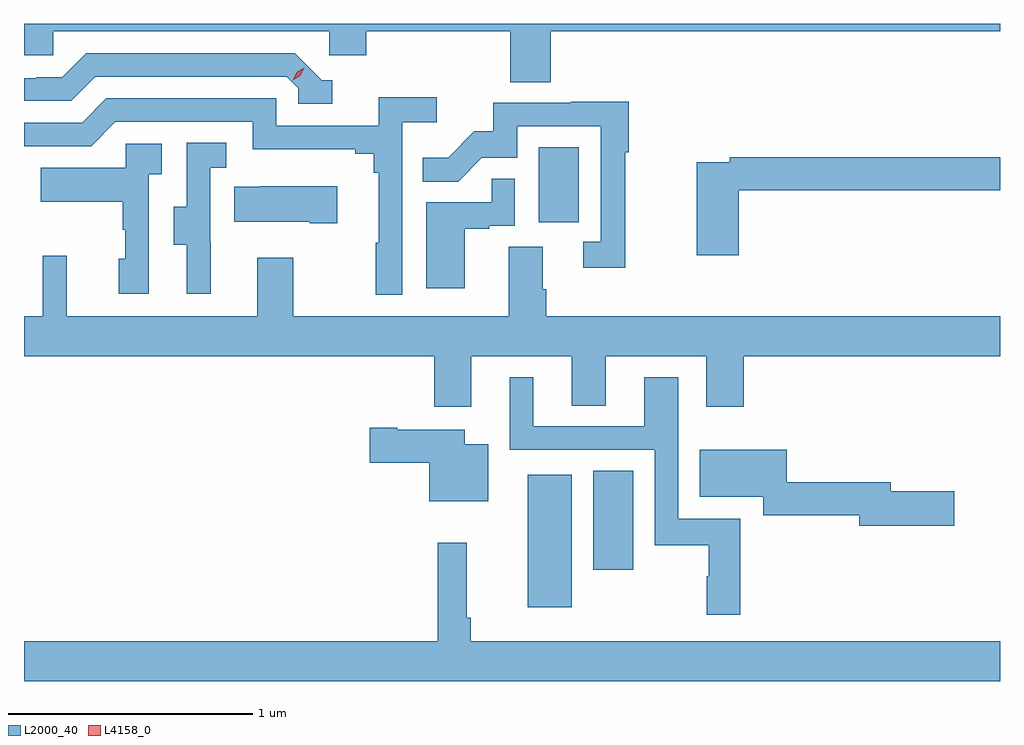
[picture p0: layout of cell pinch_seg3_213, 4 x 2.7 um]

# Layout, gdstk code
import gdstk
lib = gdstk.Library(unit=1e-6, precision=1e-09)
def R(c, l, rs):  # rectangles x0, y0, x1, y1
    for r in rs: c.add(gdstk.rectangle(r[:2], r[2:], *l))
def P(c, l, *ps):  # polygons
    for p in ps: c.add(gdstk.Polygon(p, *l))
L2000_40 = (2000, 40)
L4158_0 = (4158, 0)

pinch_seg3_213 = lib.new_cell('pinch_seg3_213')
R(pinch_seg3_213, L2000_40, [(950.531,746.507,950.71,747.052), (950.798,746.661,950.962,747.068), (950.576,748.086,950.74,748.393)])
P(pinch_seg3_213, L2000_40, [(950.624,748.868),(952.466,748.868),(952.466,748.9),(948.466,748.9),(948.466,748.77),(948.585,748.77),(948.585,748.868),(949.716,748.868),(949.716,748.77),(949.868,748.77),(949.868,748.868),(950.459,748.868),(950.459,748.66),(950.624,748.66)],
  [(949.729,748.668),(949.686,748.668),(949.575,748.779),(948.722,748.779),(948.623,748.68),(948.516,748.68),(948.516,748.677),(948.466,748.677),(948.466,748.584),(948.66,748.584),(948.759,748.683),(949.542,748.683),(949.59,748.635),(949.59,748.572),(949.729,748.572)],
  [(950.016,748.496),(950.158,748.496),(950.158,748.598),(949.919,748.598),(949.919,748.482),(949.5,748.482),(949.5,748.593),(948.803,748.593),(948.704,748.494),(948.466,748.494),(948.466,748.398),(948.741,748.398),(948.84,748.497),(949.404,748.497),(949.404,748.385),(949.823,748.385),(949.823,748.366),(949.9,748.366),(949.9,748.289),(949.919,748.289),(949.919,748.001),(949.908,748.001),(949.908,747.789),(950.016,747.789)],
  [(950.93,748.372),(950.945,748.372),(950.945,748.58),(950.707,748.58),(950.707,748.575),(950.389,748.575),(950.389,748.458),(950.312,748.458),(950.205,748.351),(950.101,748.351),(950.101,748.252),(950.245,748.252),(950.343,748.35),(950.487,748.35),(950.487,748.479),(950.829,748.479),(950.829,748.005),(950.757,748.005),(950.757,747.9),(950.93,747.9)],
  [(949.232,748.005),(949.23,748.005),(949.23,748.309),(949.294,748.309),(949.294,748.412),(949.134,748.412),(949.134,748.149),(949.079,748.149),(949.079,747.994),(949.133,747.994),(949.133,747.792),(949.232,747.792)],
  [(948.978,748.283),(949.03,748.283),(949.03,748.407),(948.882,748.407),(948.882,748.309),(948.535,748.309),(948.535,748.169),(948.87,748.169),(948.87,748.055),(948.88,748.055),(948.88,747.936),(948.854,747.936),(948.854,747.792),(948.978,747.792)],
  [(951.395,748.216),(952.466,748.216),(952.466,748.352),(951.358,748.352),(951.358,748.332),(951.224,748.332),(951.224,747.951),(951.395,747.951)],
  [(950.272,748.059),(950.372,748.059),(950.372,748.071),(950.478,748.071),(950.478,748.265),(950.383,748.265),(950.383,748.167),(950.114,748.167),(950.114,747.816),(950.272,747.816)],
  [(949.75,748.234),(949.435,748.234),(949.435,748.231),(949.327,748.231),(949.327,748.088),(949.637,748.088),(949.637,748.081),(949.75,748.081)],
  [(950.299,747.536),(950.711,747.536),(950.711,747.334),(950.851,747.334),(950.851,747.536),(951.263,747.536),(951.263,747.33),(951.416,747.33),(951.416,747.536),(952.466,747.536),(952.466,747.7),(950.606,747.7),(950.606,747.812),(950.593,747.812),(950.593,747.986),(950.453,747.986),(950.453,747.7),(949.569,747.7),(949.569,747.94),(949.421,747.94),(949.421,747.7),(948.641,747.7),(948.641,747.949),(948.543,747.949),(948.543,747.7),(948.466,747.7),(948.466,747.536),(950.147,747.536),(950.147,747.33),(950.299,747.33)],
  [(951.401,746.871),(951.147,746.871),(951.147,747.451),(951.008,747.451),(951.008,747.249),(950.554,747.249),(950.554,747.451),(950.456,747.451),(950.456,747.153),(951.051,747.153),(951.051,746.763),(951.273,746.763),(951.273,746.634),(951.265,746.634),(951.265,746.478),(951.401,746.478)],
  [(950.368,747.175),(950.272,747.175),(950.272,747.235),(949.996,747.235),(949.996,747.243),(949.884,747.243),(949.884,747.101),(950.126,747.101),(950.126,746.942),(950.368,746.942)],
  [(952.279,746.984),(952.018,746.984),(952.018,747.02),(951.591,747.02),(951.591,747.154),(951.236,747.154),(951.236,746.96),(951.495,746.96),(951.495,746.884),(951.89,746.884),(951.89,746.842),(952.279,746.842)],
  [(952.466,746.368),(950.297,746.368),(950.297,746.464),(950.28,746.464),(950.28,746.773),(950.161,746.773),(950.161,746.368),(948.466,746.368),(948.466,746.204),(952.466,746.204)])
P(pinch_seg3_213, L4158_0, [(949.567,748.668),(949.567,748.668),(949.583,748.701),(949.614,748.72),(949.614,748.72),(949.614,748.72),(949.598,748.687),(949.567,748.668)])

lib.write_gds('pinch_seg3_213.gds')
